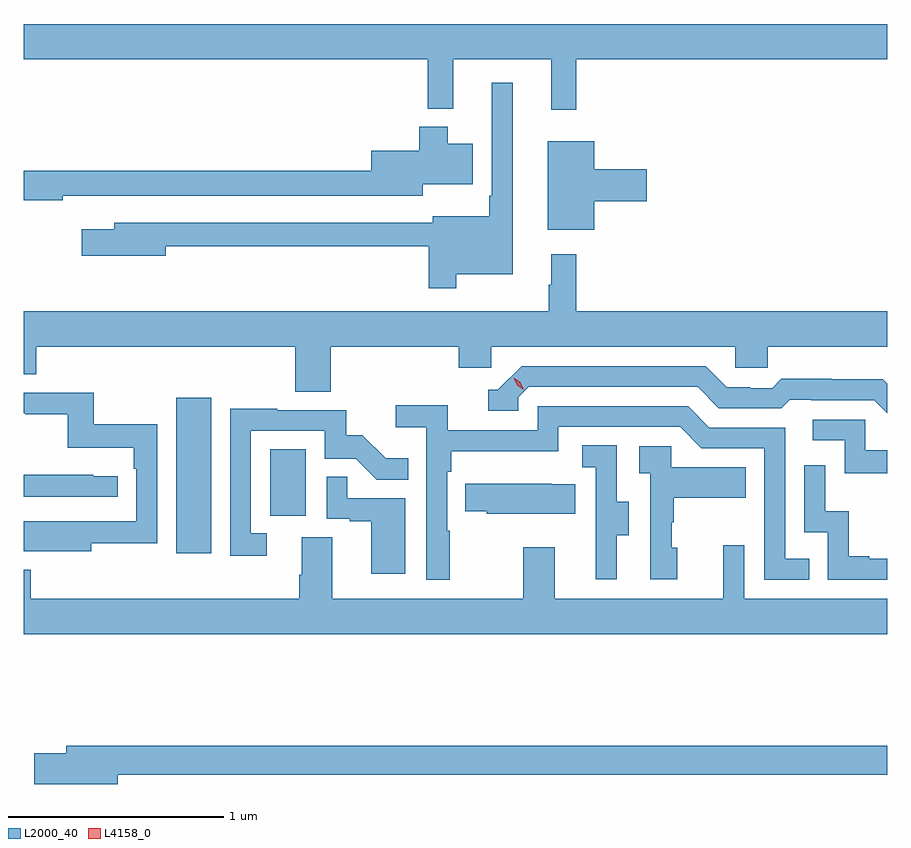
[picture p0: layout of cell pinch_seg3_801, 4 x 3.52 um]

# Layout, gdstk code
import gdstk
lib = gdstk.Library(unit=1e-6, precision=1e-09)
def R(c, l, rs):  # rectangles x0, y0, x1, y1
    for r in rs: c.add(gdstk.rectangle(r[:2], r[2:], *l))
def P(c, l, *ps):  # polygons
    for p in ps: c.add(gdstk.Polygon(p, *l))
L2000_40 = (2000, 40)
L4158_0 = (4158, 0)

pinch_seg3_801 = lib.new_cell('pinch_seg3_801')
R(pinch_seg3_801, L2000_40, [(880.835,710.616,880.996,711.337), (881.27,710.79,881.434,711.097)])
P(pinch_seg3_801, L2000_40, [(882.689,712.904),(884.129,712.904),(884.129,713.068),(880.129,713.068),(880.129,712.904),(882.001,712.904),(882.001,712.676),(882.119,712.676),(882.119,712.904),(882.572,712.904),(882.572,712.671),(882.689,712.671)],
  [(882.133,711.908),(882.394,711.908),(882.394,712.795),(882.297,712.795),(882.297,712.273),(882.285,712.273),(882.285,712.177),(882.023,712.177),(882.023,712.146),(880.547,712.146),(880.547,712.117),(880.398,712.117),(880.398,711.995),(880.786,711.995),(880.786,712.038),(882.004,712.038),(882.004,711.843),(882.133,711.843)],
  [(880.31,712.272),(881.977,712.272),(881.977,712.325),(882.208,712.325),(882.208,712.513),(882.094,712.513),(882.094,712.591),(881.96,712.591),(881.96,712.48),(881.738,712.48),(881.738,712.388),(880.129,712.388),(880.129,712.252),(880.31,712.252)],
  [(882.772,712.247),(883.015,712.247),(883.015,712.394),(882.772,712.394),(882.772,712.525),(882.557,712.525),(882.557,712.115),(882.772,712.115)],
  [(881.552,711.572),(882.143,711.572),(882.143,711.474),(882.294,711.474),(882.294,711.572),(883.425,711.572),(883.425,711.474),(883.575,711.474),(883.575,711.572),(884.129,711.572),(884.129,711.736),(882.689,711.736),(882.689,712),(882.572,712),(882.572,711.86),(882.561,711.86),(882.561,711.736),(880.129,711.736),(880.129,711.445),(880.187,711.445),(880.187,711.572),(881.387,711.572),(881.387,711.364),(881.552,711.364)],
  [(884.129,711.4),(884.108,711.421),(883.872,711.421),(883.872,711.424),(883.639,711.424),(883.597,711.381),(883.494,711.381),(883.494,711.384),(883.387,711.384),(883.288,711.483),(882.435,711.483),(882.324,711.372),(882.281,711.372),(882.281,711.276),(882.42,711.276),(882.42,711.339),(882.468,711.387),(883.251,711.387),(883.35,711.288),(883.639,711.288),(883.678,711.327),(883.777,711.327),(883.777,711.324),(884.07,711.324),(884.129,711.265)],
  [(880.441,710.662),(880.746,710.662),(880.746,711.214),(880.453,711.214),(880.453,711.36),(880.129,711.36),(880.129,711.264),(880.135,711.264),(880.135,711.259),(880.332,711.259),(880.332,711.104),(880.637,711.104),(880.637,711.008),(880.65,711.008),(880.65,710.763),(880.337,710.763),(880.337,710.764),(880.129,710.764),(880.129,710.624),(880.441,710.624)],
  [(882.103,710.72),(882.09,710.72),(882.09,710.993),(882.11,710.993),(882.11,711.089),(882.606,711.089),(882.606,711.201),(883.17,711.201),(883.269,711.102),(883.56,711.102),(883.56,710.493),(883.769,710.493),(883.769,710.589),(883.656,710.589),(883.656,711.198),(883.306,711.198),(883.207,711.297),(882.51,711.297),(882.51,711.186),(882.092,711.186),(882.092,711.302),(881.853,711.302),(881.853,711.2),(881.994,711.2),(881.994,710.493),(882.103,710.493)],
  [(881.254,710.709),(881.181,710.709),(881.181,711.183),(881.523,711.183),(881.523,711.054),(881.667,711.054),(881.765,710.956),(881.909,710.956),(881.909,711.055),(881.805,711.055),(881.698,711.162),(881.622,711.162),(881.622,711.279),(881.303,711.279),(881.303,711.284),(881.085,711.284),(881.085,710.604),(881.254,710.604)],
  [(884.129,711.093),(884.028,711.093),(884.028,711.234),(883.785,711.234),(883.785,711.138),(883.932,711.138),(883.932,710.985),(884.129,710.985)],
  [(882.877,710.698),(882.931,710.698),(882.931,710.853),(882.876,710.853),(882.876,711.116),(882.717,711.116),(882.717,711.013),(882.78,711.013),(882.78,710.709),(882.779,710.709),(882.779,710.496),(882.877,710.496)],
  [(883.156,710.64),(883.131,710.64),(883.131,710.759),(883.141,710.759),(883.141,710.873),(883.475,710.873),(883.475,711.013),(883.128,711.013),(883.128,711.111),(882.981,711.111),(882.981,710.987),(883.032,710.987),(883.032,710.496),(883.156,710.496)],
  [(884.129,710.589),(884.047,710.589),(884.047,710.602),(883.952,710.602),(883.952,710.81),(883.842,710.81),(883.842,711.022),(883.746,711.022),(883.746,710.712),(883.854,710.712),(883.854,710.493),(884.129,710.493)],
  [(880.564,710.973),(880.451,710.973),(880.451,710.978),(880.129,710.978),(880.129,710.877),(880.564,710.877)],
  [(881.896,710.871),(881.627,710.871),(881.627,710.969),(881.532,710.969),(881.532,710.775),(881.639,710.775),(881.639,710.763),(881.738,710.763),(881.738,710.52),(881.896,710.52)],
  [(882.683,710.935),(882.575,710.935),(882.575,710.938),(882.175,710.938),(882.175,710.809),(882.273,710.809),(882.273,710.798),(882.683,710.798)],
  [(884.129,710.404),(883.467,710.404),(883.467,710.653),(883.37,710.653),(883.37,710.404),(882.589,710.404),(882.589,710.644),(882.442,710.644),(882.442,710.404),(881.557,710.404),(881.557,710.69),(881.417,710.69),(881.417,710.516),(881.405,710.516),(881.405,710.404),(880.16,710.404),(880.16,710.539),(880.129,710.539),(880.129,710.24),(884.129,710.24)],
  [(880.564,709.588),(884.129,709.588),(884.129,709.724),(880.325,709.724),(880.325,709.688),(880.176,709.688),(880.176,709.546),(880.564,709.546)])
P(pinch_seg3_801, L4158_0, [(882.445,711.374),(882.415,711.394),(882.399,711.427),(882.399,711.428),(882.4,711.428),(882.43,711.407),(882.445,711.374),(882.445,711.374)])

lib.write_gds('pinch_seg3_801.gds')
